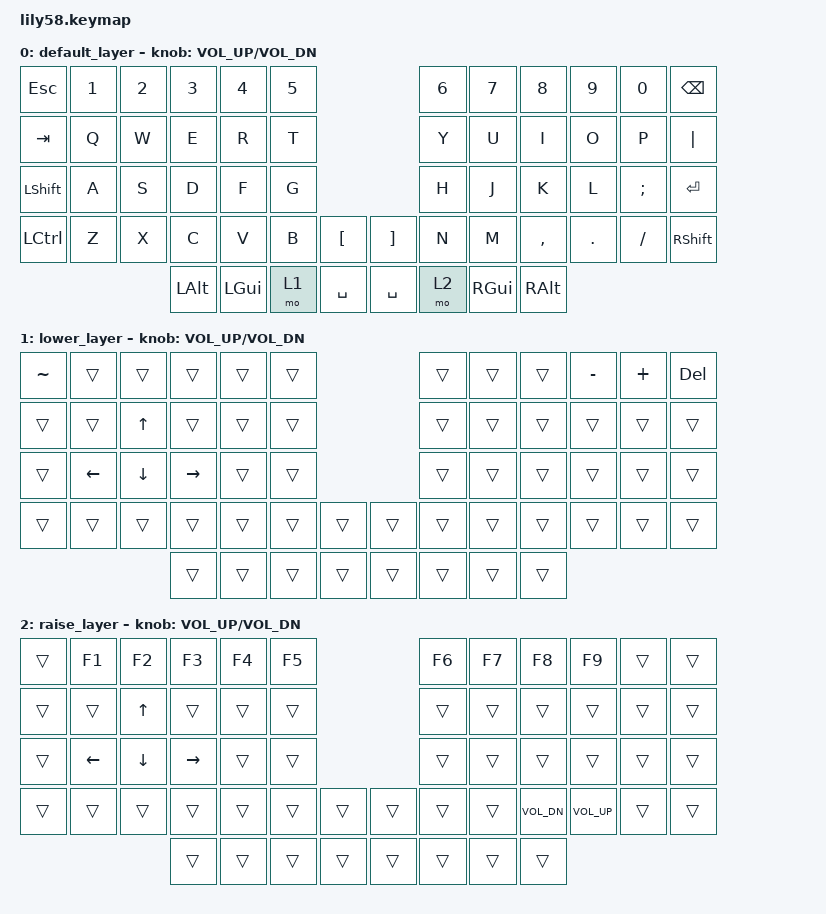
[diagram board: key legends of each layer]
/*
 * Copyright (c) 2020 The ZMK Contributors
 *
 * SPDX-License-Identifier: MIT
 */

#include <behaviors.dtsi>
#include <dt-bindings/zmk/keys.h>

/ {
    keymap {
        compatible = "zmk,keymap";

        default_layer {
// ------------------------------------------------------------------------------------------------------------
// |  ESC  |  1  |  2  |  3   |  4   |  5   |                   |  6   |  7    |  8    |  9   |   0   | BSPC  |
// |  TAB  |  Q  |  W  |  E   |  R   |  T   |                   |  Y   |  U    |  I    |  O   |   P   |   |   |
// | SHIFT |  A  |  S  |  D   |  F   |  G   |                   |  H   |  J    |  K    |  L   |   ;   | ENTER |
// | CTRL  |  Z  |  X  |  C   |  V   |  B   |   "["  |  |  "]"  |  N   |  M    |  ,    |  .   |   /   | SHIFT |
//                     | ALT  | GUI  | LOWER|  SPACE |  | SPACE | RAISE| GUI   | RALT  |
            bindings = <
&kp ESC   &kp N1 &kp N2 &kp N3   &kp N4   &kp N5                     &kp N6 &kp N7   &kp N8    &kp N9  &kp N0   &kp BSPC
&kp TAB   &kp Q  &kp W  &kp E    &kp R    &kp T                      &kp Y  &kp U    &kp I     &kp O   &kp P    &kp PIPE
&kp LSHFT &kp A  &kp S  &kp D    &kp F    &kp G                      &kp H  &kp J    &kp K     &kp L   &kp SEMI &kp RET
&kp LCTRL &kp Z  &kp X  &kp C    &kp V    &kp B  &kp LBKT   &kp RBKT &kp N  &kp M    &kp COMMA &kp DOT &kp FSLH &kp RSHFT
                        &kp LALT &kp LGUI &mo 1  &kp SPACE  &kp SPACE &mo 2 &kp RGUI &kp RALT
            >;

            sensor-bindings = <&inc_dec_kp C_VOL_UP C_VOL_DN>;
        };

        lower_layer {
// ------------------------------------------------------------------------------------------------------------
// |   ~   |     |     |      |      |      |                   |      |       |   -   |  +   |  DEL  |
// |       |     |  ^  |      |      |      |                   |      |       |       |      |       |       |
// |       |  <- |  v  |  ->  |      |      |                   |      |       |       |      |       |       |
// |       |     |     |      |      |      |        |  |       |      |       |       |      |       |       |
//                     |      |      |      |        |  |       |      |       |       |
            bindings = <
&kp TILDE  &trans &trans &trans &trans &trans                    &trans &trans &trans &kp MINUS &kp PLUS &kp DEL
&trans     &trans &kp UP &trans &trans &trans                    &trans &trans &trans &trans    &trans   &trans
&trans     &kp LEFT &kp DOWN &kp RIGHT &trans &trans             &trans &trans &trans &trans    &trans   &trans
&trans     &trans &trans &trans &trans &trans &trans   &trans    &trans &trans &trans &trans    &trans   &trans
                              &trans &trans &trans     &trans    &trans &trans &trans &trans
            >;

            sensor-bindings = <&inc_dec_kp C_VOL_UP C_VOL_DN>;
        };

        raise_layer {
// ------------------------------------------------------------------------------------------------------------
// |       |  F1 |  F2 |  F3  |  F4  |  F5  |                   |  F6  |  F7   |  F8   |  F9 |       |       |
// |       |     |  ^  |      |      |      |                   |      |       |       |     |       |       |
// |       |  <- |  v  |  ->  |      |      |                   |      |       |       |     |       |       |
// |       |     |     |      |      |      |        |  |       |      |       | Vol-  | Vol+ |       |       |
//                     |      |      |      |        |  |       |      |       |       |
            bindings = <
&trans &kp F1   &kp F2   &kp F3    &kp F4   &kp F5                    &kp F6   &kp F7   &kp F8       &kp F9       &trans &trans
&trans &trans   &kp UP   &trans    &trans   &trans                    &trans   &trans   &trans       &trans       &trans &trans
&trans &kp LEFT &kp DOWN &kp RIGHT &trans   &trans                    &trans   &trans   &trans       &trans       &trans &trans
&trans &trans   &trans   &trans    &trans   &trans   &trans &trans    &trans   &trans   &kp C_VOL_DN &kp C_VOL_UP &trans &trans
                           &trans   &trans   &trans   &trans          &trans   &trans   &trans       &trans
            >;

            sensor-bindings = <&inc_dec_kp C_VOL_UP C_VOL_DN>;
        };
    };
};
